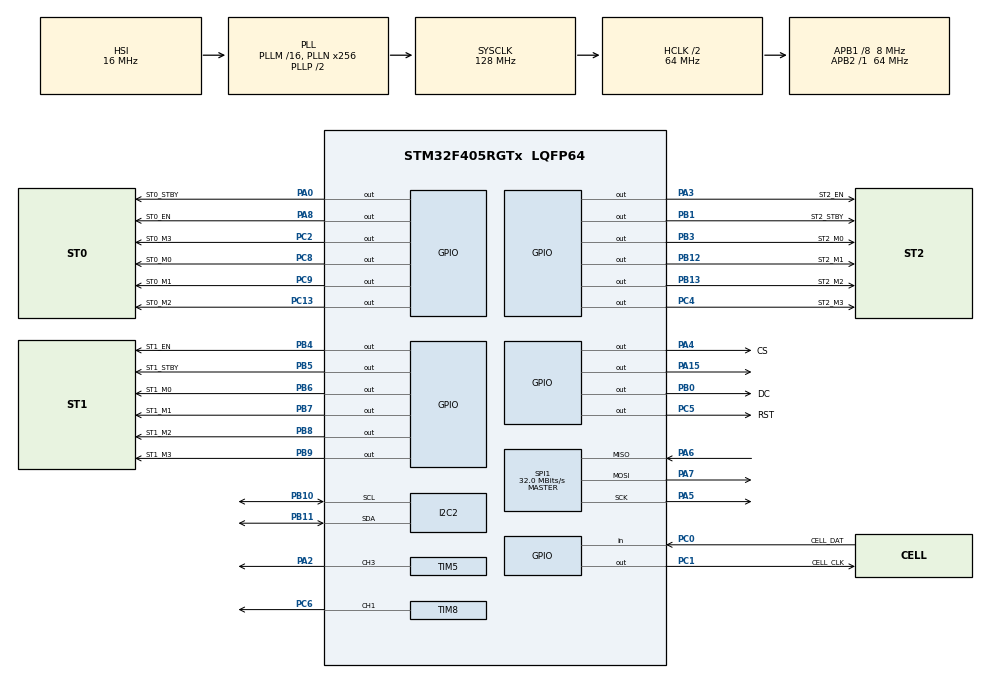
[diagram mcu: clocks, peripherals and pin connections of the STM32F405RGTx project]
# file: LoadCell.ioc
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Mcu.Family=STM32F4
Mcu.Name=STM32F405RGTx
Mcu.Package=LQFP64
NVIC.PriorityGroup=NVIC_PRIORITYGROUP_4
NVIC.TIM2_IRQn=true\:0\:0\:false\:false\:true\:true\:true
NVIC.TIM3_IRQn=true\:0\:0\:false\:false\:true\:true\:true
PA0-WKUP.GPIO_Label=ST0_STBY
PA0-WKUP.Signal=GPIO_Output
PA15.Signal=GPIO_Output
PA2.Signal=S_TIM5_CH3
PA3.GPIO_Label=ST2_EN
PA3.Signal=GPIO_Output
PA4.GPIO_Label=CS
PA4.PinState=GPIO_PIN_SET
PA4.Signal=GPIO_Output
PA5.Mode=Full_Duplex_Master
PA5.Signal=SPI1_SCK
PA6.Mode=Full_Duplex_Master
PA6.Signal=SPI1_MISO
PA7.Mode=Full_Duplex_Master
PA7.Signal=SPI1_MOSI
PA8.GPIO_Label=ST0_EN
PA8.Signal=GPIO_Output
PB0.GPIO_Label=DC
PB0.PinState=GPIO_PIN_SET
PB0.Signal=GPIO_Output
PB1.GPIO_Label=ST2_STBY
PB1.Signal=GPIO_Output
PB10.Mode=I2C
PB10.Signal=I2C2_SCL
PB11.Mode=I2C
PB11.Signal=I2C2_SDA
PB12.GPIO_Label=ST2_M1
PB12.Signal=GPIO_Output
PB13.GPIO_Label=ST2_M2
PB13.Signal=GPIO_Output
PB3.GPIO_Label=ST2_M0
PB3.Signal=GPIO_Output
PB4.GPIO_Label=ST1_EN
PB4.Signal=GPIO_Output
PB5.GPIO_Label=ST1_STBY
PB5.Signal=GPIO_Output
PB6.GPIO_Label=ST1_M0
PB6.Signal=GPIO_Output
PB7.GPIO_Label=ST1_M1
PB7.Signal=GPIO_Output
PB8.GPIO_Label=ST1_M2
PB8.Signal=GPIO_Output
PB9.GPIO_Label=ST1_M3
PB9.Signal=GPIO_Output
PC0.GPIO_Label=CELL_DAT
PC0.Signal=GPIO_Input
PC1.GPIO_Label=CELL_CLK
PC1.GPIO_PuPd=GPIO_PULLDOWN
PC1.GPIO_Speed=GPIO_SPEED_FREQ_HIGH
PC1.Signal=GPIO_Output
PC13-ANTI_TAMP.GPIO_Label=ST0_M2
PC13-ANTI_TAMP.Signal=GPIO_Output
PC2.GPIO_Label=ST0_M3
PC2.Signal=GPIO_Output
PC4.GPIO_Label=ST2_M3
PC4.Signal=GPIO_Output
PC5.GPIO_Label=RST
PC5.PinState=GPIO_PIN_SET
PC5.Signal=GPIO_Output
PC6.Signal=S_TIM8_CH1
PC8.GPIO_Label=ST0_M0
PC8.Signal=GPIO_Output
PC9.GPIO_Label=ST0_M1
PC9.Signal=GPIO_Output
ProjectManager.HeapSize=0x200
ProjectManager.StackSize=0x400
ProjectManager.TargetToolchain=STM32CubeIDE
RCC.48MHZClocksFreq_Value=64000000
RCC.AHBCLKDivider=RCC_SYSCLK_DIV2
RCC.AHBFreq_Value=64000000
RCC.APB1CLKDivider=RCC_HCLK_DIV8
RCC.APB1Freq_Value=8000000
RCC.APB1TimFreq_Value=16000000
RCC.APB2Freq_Value=64000000
RCC.APB2TimFreq_Value=64000000
RCC.CortexFreq_Value=64000000
RCC.HCLKFreq_Value=64000000
RCC.HSE_VALUE=25000000
RCC.HSI_VALUE=16000000
RCC.LSE_VALUE=32768
RCC.PLLN=256
RCC.SYSCLKFreq_VALUE=128000000
RCC.SYSCLKSource=RCC_SYSCLKSOURCE_PLLCLK
RCC.VCOOutputFreq_Value=256000000
SH.S_TIM5_CH3.0=TIM5_CH3,PWM Generation3 CH3
SH.S_TIM8_CH1.0=TIM8_CH1,PWM Generation1 CH1
SPI1.CalculateBaudRate=32.0 MBits/s
SPI1.Direction=SPI_DIRECTION_2LINES
SPI1.Mode=SPI_MODE_MASTER
SPI1.VirtualType=VM_MASTER
TIM2.AutoReloadPreload=TIM_AUTORELOAD_PRELOAD_DISABLE
TIM2.Period=8192
TIM3.Period=8192
TIM5.AutoReloadPreload=TIM_AUTORELOAD_PRELOAD_ENABLE
TIM5.Channel-PWM\ Generation3\ CH3=TIM_CHANNEL_3
TIM5.Period=4999
TIM5.Prescaler=212
TIM5.Pulse-PWM\ Generation3\ CH3=2000
TIM8.AutoReloadPreload=TIM_AUTORELOAD_PRELOAD_ENABLE
TIM8.Channel-PWM\ Generation1\ CH1=TIM_CHANNEL_1
TIM8.Period=4999
TIM8.Prescaler=255
TIM8.Pulse-PWM\ Generation1\ CH1=375
VP_TIM1_VS_ClockSourceINT.Mode=Internal
VP_TIM2_VS_ClockSourceINT.Mode=Internal
VP_TIM3_VS_ClockSourceINT.Mode=Internal
VP_TIM8_VS_ClockSourceINT.Mode=Internal
board=custom

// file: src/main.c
/* USER CODE BEGIN Header */
//       [STM32F405 Pin, ThingPlus Pin]
// PC0   [8, 8 D0]
//    Input to read the load cell
// PC1   [9, 7 D1]
//    Output to write clk to drive load cell "serial"
//
//
// GPIO
//    - https://simonmartin.ch/resources/stm32/dl/STM32%20Tutorial%2001%20-%20GPIO%20Operations%20using%20HAL%20(and%20FreeRTOS).pdf
//
// Timer idea for delay
//    - https://controllerstech.com/create-1-microsecond-delay-stm32/
//    - https://www.digikey.com/en/maker/projects/getting-started-with-stm32-timers-and-timer-interrupts/d08e6493cefa486fb1e79c43c0b08cc6
//
/*
 * Explanation
 *  Uses an hx711, basically a 24bit ADC. Interface is it's own kind of serial setup.
 *  -Wait until DAT is low (indicates it's ready). Sample is read MSB to LSB.
 *      Wait at least 0.1 microsecond until starting
 *  -We set CLK high, on it's rising edge (0.1microsecond max delay) DAT will have the next bit ready.
 *      CLK high time 0.2 - 50 microsecond
 *      CLK low time min 0.2 microsecond (1 typical)
 *  -Gain is set by how many pulses we send (DAT is pulled high by 25th pulse
 *      Pulse   Gain
 *      25      128
 *      26      32
 *      27      64
 *
 *
 * Pinout
 *  ThingPlus  ->  Load Cell Amplifier
 *  D0         ->   DAT
 *  D1         ->   CLK
 *
 *  ThingPlus  ->  Display MSP430G2553 (I2C)
 *  SCL        ->   P1.6 SCL
 *  SDA        ->   P1.7 SDA
 *
 *  Load Cell Amplifier
 *  VDD   ->   ThingPlus +3.3V
 *  VCC   ->   VREF +4.096V
 *
 *  Precision Voltage Ref (LM4040)
 *  VCC   ->   ThingPlus +3.3V
 *
 *
 * To add second stepper (and more), moved to ATP carrier board, didn't have to re-map anything,
 * though some of the board labels have changed. Labels below are all correct for ATP board.
 *
 *
 *  stepper driver 1
 *    en   pa8   g1
 *    stby pa0   g2
 *    0    pc8   g3
 *    1    pc9   g4
 *    2    pc13  g5
 *    3    pc2   g6
 *
 *  stepper driver 2
 *    en
 *    stby
 *    0
 *    1
 *    2
 *    3
 *
 *  LCD
 *    dc          pb0   a1
 *    rst         pc5   a0
 *    cs          pa4   i2s_ws
 *    pwm(timer)  pa2   tx1      (timer 5, channel 3)
 *  spi1
 *    mosi        pa7
 *    miso        pa6
 *    sck         pa5
 */
/* USER CODE END Header */
#include "main.h"

/* USER CODE BEGIN Includes */
#include <string.h>

#include "buttons.h"
#include "display.h"
#include "loadCell.h"
#include "motor.h"
#include "system.h"
/* USER CODE END Includes */

/* USER CODE BEGIN PD */
extern StepperMotor motorList[2];

MachineState currentState;

/* USER CODE END PD */

I2C_HandleTypeDef hi2c2;

SPI_HandleTypeDef hspi1;

TIM_HandleTypeDef htim1;
TIM_HandleTypeDef htim2;
TIM_HandleTypeDef htim3;
TIM_HandleTypeDef htim5;
TIM_HandleTypeDef htim8;

void SystemClock_Config(void);
static void MX_GPIO_Init(void);
static void MX_TIM1_Init(void);
static void MX_I2C2_Init(void);
static void MX_TIM8_Init(void);
static void MX_TIM2_Init(void);
static void MX_TIM3_Init(void);
static void MX_TIM5_Init(void);
static void MX_SPI1_Init(void);

/* USER CODE BEGIN 0 */
void timerDelay(uint16_t u16ths)
{
   __HAL_TIM_SET_COUNTER(&htim1,0);  // set the counter value a 0
   while (__HAL_TIM_GET_COUNTER(&htim1) < u16ths);  // wait for the counter to reach the input parameter
}

void statusBlink(enum LED_STATUS code)
{
   int iTimes;
   switch (code) {
      case LED_INIT_SUCCESS: {
         for (int i = 0; i < 2; i++) {
            HAL_GPIO_TogglePin(GPIOA, GPIO_PIN_15);
            HAL_Delay(250);
         }
         HAL_Delay(1000);
         iTimes = 2;
      } break;
      case LED_SAMPLE_SUCCESS:   iTimes = 4; break;
      case LED_SAMPLE_FAIL:      iTimes = 6; break;
      case LED_I2C_FAIL:         iTimes = 8; break;

      default: return;
   }
   for (int i = 0; i < iTimes; i++) {
      HAL_GPIO_TogglePin(GPIOA, GPIO_PIN_15);
      HAL_Delay(250);
   }
   HAL_Delay(1000);
   for (int i = 0; i < iTimes; i++) {
      HAL_GPIO_TogglePin(GPIOA, GPIO_PIN_15);
      HAL_Delay(250);
   }
}
/* USER CODE END 0 */

int main(void)
{

  /* MCU Configuration--------------------------------------------------------*/

  /* Reset of all peripherals, Initializes the Flash interface and the Systick. */
  HAL_Init();

  /* Configure the system clock */
  SystemClock_Config();

  /* Initialize all configured peripherals */
  MX_GPIO_Init();
  MX_TIM1_Init();
  MX_I2C2_Init();
  MX_TIM8_Init();
  MX_TIM2_Init();
  MX_TIM3_Init();
  MX_TIM5_Init();
  MX_SPI1_Init();
  /* USER CODE BEGIN 2 */
   if(HAL_I2C_Init(&hi2c2) != HAL_OK) {
      statusBlink(LED_I2C_FAIL);
   }
   buttonsInit(&hi2c2);
   servoInit(&htim8, TIM_CHANNEL_1, PWM0);

   displayInit_LCD(&hspi1, &htim5);
  /* USER CODE END 2 */

  /* Infinite loop */
  /* USER CODE BEGIN WHILE */
   HAL_TIM_Base_Start(&htim1);
   //__HAL_TIM_SET_COUNTER, HAL_TIM_Base_Start, HAL_TIM_Base_Start_IT, __HAL_TIM_SET_COMPARE
   // __HAL_TIM_GET_AUTORELOAD/__HAL_TIM_SET_AUTORELOAD
   // Compare is pulse width, counter is the actual counter
   /*
    * PWM Prescaler and Counter Period (PSC and ARR)
    * Frequency PWM = Freq Clock / ((ARR + 1)*(PSC + 1))
    *
    * desired frequency * ARR = timer frequency
    * PSC = (clock / timer frequency) - 1
    *
    * 50Hz = 64MHz / ((4999 + 1)*(255 + 1))
    *
    * Ideally want to maximize ARR (thats your max pulse width)
    * Close enough to 12bit with these values
    */
   //HAL_TIM_PWM_Start(&htim8, TIM_CHANNEL_1);

   statusBlink(LED_INIT_SUCCESS);
   HAL_Delay(3000);

   uint8_t u = 0;
   uint8_t uButton = 255;
   char cButton = 'x';
   currentState.bPWM0_Running = FALSE;
   currentState.iPWM0_Speed = 375; // 1.5ms (max value 4999), 500 == 2ms, 250 == 1ms
   currentState.displayMode = MAIN_MENU;
   currentState.scaleMode = SCALE_MODE_GRAM;
   currentState.iMeasureDumpDwell = 500;
   currentState.iMenuSelection = 0;
   currentState.fTargetWeight = 0;
   currentState.fTrayWeight = 2;
   currentState.iTricklePercent = 90;
   currentState.fGramPerCC = 10;
   currentState.iTrickle1RPMfast = 2;
   currentState.iTrcikle2RPMslow = 1;
   currentState.bMenuHighlight = FALSE;
   displaySwitchMode(&currentState, 0);

   stepTableInit();
   stepperInit(&htim3, &htim2);
   stepperConfig(&motorList[1], Step_32);
   stepperConfig(&motorList[0], Step_32);

   filterInit();

   CommandQueue.iHi = -1;
   CommandQueue.iStep[0] = -1;
   CommandQueue.iStep[1] = -1;

   while (1) {
      if (readCell()) {
         calculateAverage();
         currentState.fGrainsCurrent = getGrains();
         currentState.fGramsCurrent = getGrams();
         if (++u % 5 == 0) {
            displayUpdate_(&currentState);
         }
      }
      HAL_Delay(10);

      // Read Buttons
      uButton = getButton();
      if (uButton < 16) {
         cButton = convertButtonChar(uButton);
         // Green:      Run/Go/Enter
         // Red:        Stop/kill/done
         // F1:         Tare
         // F2:         Calibrate
         // F3:         Run Load
         if (cButton == 'r') {
            // Stop everything, quit whatever program...red is kill button
            if (currentState.bPWM0_Running) {
               servoStop(PWM0);
               currentState.bPWM0_Running = FALSE;
            }
            CommandQueue.iHi = -1;
            stepperEnable(&motorList[0], FALSE);
            stepperEnable(&motorList[1], FALSE);
            currentState.stepTrickle = STEPPER_OFF;
            // Go back to main menu
            if (currentState.scaleMode == SCALE_MODE_GRAIN) currentState.displayMode = SCALE_GRAIN;
            else currentState.displayMode = SCALE_GRAM;
            if (currentState.displayMode != MAIN_MENU) {
               Display_Mode prev = currentState.displayMode;
               currentState.displayMode = MAIN_MENU;
               displaySwitchMode(&currentState, prev);
            }
         } else if (cButton == 'a') {
            setTare();
         } else if (cButton == 'b') {
         } else if (cButton == 'c') {
         } else if (cButton == 'd') {
            int i = ++CommandQueue.iStep[0];
            CommandQueue.Q_Step[0][i].uCommand = STEP_CHAMBER_DUMP;
            CommandQueue.Q_Step[0][i].uButton[0] = currentState.iMeasureDumpDwell;
            i = ++CommandQueue.iStep[1];
            CommandQueue.Q_Step[1][i].uCommand = STEP_CHAMBER_DUMP;
            CommandQueue.Q_Step[1][i].uButton[0] = currentState.iMeasureDumpDwell;
         } else {
            runQueue(&currentState, uButton);
            uButton = convertButton(uButton);
            displayHandleMenu(&currentState, uButton, cButton);
         }
      } else {
         // Run current program
         runQueue(&currentState, 255);
      }
      runStepperQueue(&currentState, &motorList[0], CommandQueue.Q_Step[0], &CommandQueue.iStep[0]);
      runStepperQueue(&currentState, &motorList[1], CommandQueue.Q_Step[1], &CommandQueue.iStep[1]);

    /* USER CODE END WHILE */

   }
}

void SystemClock_Config(void)
{
  RCC_OscInitTypeDef RCC_OscInitStruct = {0};
  RCC_ClkInitTypeDef RCC_ClkInitStruct = {0};

  /** Configure the main internal regulator output voltage
  */
  __HAL_RCC_PWR_CLK_ENABLE();
  __HAL_PWR_VOLTAGESCALING_CONFIG(PWR_REGULATOR_VOLTAGE_SCALE1);
  /** Initializes the RCC Oscillators according to the specified parameters
  * in the RCC_OscInitTypeDef structure.
  */
  RCC_OscInitStruct.OscillatorType = RCC_OSCILLATORTYPE_HSI;
  RCC_OscInitStruct.HSIState = RCC_HSI_ON;
  RCC_OscInitStruct.HSICalibrationValue = RCC_HSICALIBRATION_DEFAULT;
  RCC_OscInitStruct.PLL.PLLState = RCC_PLL_ON;
  RCC_OscInitStruct.PLL.PLLSource = RCC_PLLSOURCE_HSI;
  RCC_OscInitStruct.PLL.PLLM = 16;
  RCC_OscInitStruct.PLL.PLLN = 256;
  RCC_OscInitStruct.PLL.PLLP = RCC_PLLP_DIV2;
  RCC_OscInitStruct.PLL.PLLQ = 4;
  if (HAL_RCC_OscConfig(&RCC_OscInitStruct) != HAL_OK)
  {
    Error_Handler();
  }
  /** Initializes the CPU, AHB and APB buses clocks
  */
  RCC_ClkInitStruct.ClockType = RCC_CLOCKTYPE_HCLK|RCC_CLOCKTYPE_SYSCLK
                              |RCC_CLOCKTYPE_PCLK1|RCC_CLOCKTYPE_PCLK2;
  RCC_ClkInitStruct.SYSCLKSource = RCC_SYSCLKSOURCE_PLLCLK;
  RCC_ClkInitStruct.AHBCLKDivider = RCC_SYSCLK_DIV2;
  RCC_ClkInitStruct.APB1CLKDivider = RCC_HCLK_DIV8;
  RCC_ClkInitStruct.APB2CLKDivider = RCC_HCLK_DIV1;

  if (HAL_RCC_ClockConfig(&RCC_ClkInitStruct, FLASH_LATENCY_2) != HAL_OK)
  {
    Error_Handler();
  }
}

static void MX_I2C2_Init(void)
{

  hi2c2.Instance = I2C2;
  hi2c2.Init.ClockSpeed = 100000;
  hi2c2.Init.DutyCycle = I2C_DUTYCYCLE_2;
  hi2c2.Init.OwnAddress1 = 0;
  hi2c2.Init.AddressingMode = I2C_ADDRESSINGMODE_7BIT;
  hi2c2.Init.DualAddressMode = I2C_DUALADDRESS_DISABLE;
  hi2c2.Init.OwnAddress2 = 0;
  hi2c2.Init.GeneralCallMode = I2C_GENERALCALL_DISABLE;
  hi2c2.Init.NoStretchMode = I2C_NOSTRETCH_DISABLE;
  if (HAL_I2C_Init(&hi2c2) != HAL_OK)
  {
    Error_Handler();
  }

}

static void MX_SPI1_Init(void)
{

  /* SPI1 parameter configuration*/
  hspi1.Instance = SPI1;
  hspi1.Init.Mode = SPI_MODE_MASTER;
  hspi1.Init.Direction = SPI_DIRECTION_2LINES;
  hspi1.Init.DataSize = SPI_DATASIZE_8BIT;
  hspi1.Init.CLKPolarity = SPI_POLARITY_LOW;
  hspi1.Init.CLKPhase = SPI_PHASE_1EDGE;
  hspi1.Init.NSS = SPI_NSS_SOFT;
  hspi1.Init.BaudRatePrescaler = SPI_BAUDRATEPRESCALER_2;
  hspi1.Init.FirstBit = SPI_FIRSTBIT_MSB;
  hspi1.Init.TIMode = SPI_TIMODE_DISABLE;
  hspi1.Init.CRCCalculation = SPI_CRCCALCULATION_DISABLE;
  hspi1.Init.CRCPolynomial = 10;
  if (HAL_SPI_Init(&hspi1) != HAL_OK)
  {
    Error_Handler();
  }

}

static void MX_TIM1_Init(void)
{

  TIM_ClockConfigTypeDef sClockSourceConfig = {0};
  TIM_MasterConfigTypeDef sMasterConfig = {0};

  htim1.Instance = TIM1;
  htim1.Init.Prescaler = 0;
  htim1.Init.CounterMode = TIM_COUNTERMODE_UP;
  htim1.Init.Period = 65535;
  htim1.Init.ClockDivision = TIM_CLOCKDIVISION_DIV1;
  htim1.Init.RepetitionCounter = 0;
  htim1.Init.AutoReloadPreload = TIM_AUTORELOAD_PRELOAD_DISABLE;
  if (HAL_TIM_Base_Init(&htim1) != HAL_OK)
  {
    Error_Handler();
  }
  sClockSourceConfig.ClockSource = TIM_CLOCKSOURCE_INTERNAL;
  if (HAL_TIM_ConfigClockSource(&htim1, &sClockSourceConfig) != HAL_OK)
  {
    Error_Handler();
  }
  sMasterConfig.MasterOutputTrigger = TIM_TRGO_RESET;
  sMasterConfig.MasterSlaveMode = TIM_MASTERSLAVEMODE_DISABLE;
  if (HAL_TIMEx_MasterConfigSynchronization(&htim1, &sMasterConfig) != HAL_OK)
  {
    Error_Handler();
  }

}

static void MX_TIM2_Init(void)
{

  TIM_ClockConfigTypeDef sClockSourceConfig = {0};
  TIM_MasterConfigTypeDef sMasterConfig = {0};

  htim2.Instance = TIM2;
  htim2.Init.Prescaler = 0;
  htim2.Init.CounterMode = TIM_COUNTERMODE_UP;
  htim2.Init.Period = 8192;
  htim2.Init.ClockDivision = TIM_CLOCKDIVISION_DIV1;
  htim2.Init.AutoReloadPreload = TIM_AUTORELOAD_PRELOAD_DISABLE;
  if (HAL_TIM_Base_Init(&htim2) != HAL_OK)
  {
    Error_Handler();
  }
  sClockSourceConfig.ClockSource = TIM_CLOCKSOURCE_INTERNAL;
  if (HAL_TIM_ConfigClockSource(&htim2, &sClockSourceConfig) != HAL_OK)
  {
    Error_Handler();
  }
  sMasterConfig.MasterOutputTrigger = TIM_TRGO_RESET;
  sMasterConfig.MasterSlaveMode = TIM_MASTERSLAVEMODE_DISABLE;
  if (HAL_TIMEx_MasterConfigSynchronization(&htim2, &sMasterConfig) != HAL_OK)
  {
    Error_Handler();
  }

}

static void MX_TIM3_Init(void)
{

  TIM_ClockConfigTypeDef sClockSourceConfig = {0};
  TIM_MasterConfigTypeDef sMasterConfig = {0};

  htim3.Instance = TIM3;
  htim3.Init.Prescaler = 0;
  htim3.Init.CounterMode = TIM_COUNTERMODE_UP;
  htim3.Init.Period = 8192;
  htim3.Init.ClockDivision = TIM_CLOCKDIVISION_DIV1;
  htim3.Init.AutoReloadPreload = TIM_AUTORELOAD_PRELOAD_DISABLE;
  if (HAL_TIM_Base_Init(&htim3) != HAL_OK)
  {
    Error_Handler();
  }
  sClockSourceConfig.ClockSource = TIM_CLOCKSOURCE_INTERNAL;
  if (HAL_TIM_ConfigClockSource(&htim3, &sClockSourceConfig) != HAL_OK)
  {
    Error_Handler();
  }
  sMasterConfig.MasterOutputTrigger = TIM_TRGO_RESET;
  sMasterConfig.MasterSlaveMode = TIM_MASTERSLAVEMODE_DISABLE;
  if (HAL_TIMEx_MasterConfigSynchronization(&htim3, &sMasterConfig) != HAL_OK)
  {
    Error_Handler();
  }

}

static void MX_TIM5_Init(void)
{

  TIM_MasterConfigTypeDef sMasterConfig = {0};
  TIM_OC_InitTypeDef sConfigOC = {0};

  htim5.Instance = TIM5;
  htim5.Init.Prescaler = 212;
  htim5.Init.CounterMode = TIM_COUNTERMODE_UP;
  htim5.Init.Period = 4999;
  htim5.Init.ClockDivision = TIM_CLOCKDIVISION_DIV1;
  htim5.Init.AutoReloadPreload = TIM_AUTORELOAD_PRELOAD_ENABLE;
  if (HAL_TIM_PWM_Init(&htim5) != HAL_OK)
  {
    Error_Handler();
  }
  sMasterConfig.MasterOutputTrigger = TIM_TRGO_RESET;
  sMasterConfig.MasterSlaveMode = TIM_MASTERSLAVEMODE_DISABLE;
  if (HAL_TIMEx_MasterConfigSynchronization(&htim5, &sMasterConfig) != HAL_OK)
  {
    Error_Handler();
  }
  sConfigOC.OCMode = TIM_OCMODE_PWM1;
  sConfigOC.Pulse = 2000;
  sConfigOC.OCPolarity = TIM_OCPOLARITY_HIGH;
  sConfigOC.OCFastMode = TIM_OCFAST_DISABLE;
  if (HAL_TIM_PWM_ConfigChannel(&htim5, &sConfigOC, TIM_CHANNEL_3) != HAL_OK)
  {
    Error_Handler();
  }
  HAL_TIM_MspPostInit(&htim5);

}

static void MX_TIM8_Init(void)
{

  TIM_ClockConfigTypeDef sClockSourceConfig = {0};
  TIM_MasterConfigTypeDef sMasterConfig = {0};
  TIM_OC_InitTypeDef sConfigOC = {0};
  TIM_BreakDeadTimeConfigTypeDef sBreakDeadTimeConfig = {0};

  htim8.Instance = TIM8;
  htim8.Init.Prescaler = 255;
  htim8.Init.CounterMode = TIM_COUNTERMODE_UP;
  htim8.Init.Period = 4999;
  htim8.Init.ClockDivision = TIM_CLOCKDIVISION_DIV1;
  htim8.Init.RepetitionCounter = 0;
  htim8.Init.AutoReloadPreload = TIM_AUTORELOAD_PRELOAD_ENABLE;
  if (HAL_TIM_Base_Init(&htim8) != HAL_OK)
  {
    Error_Handler();
  }
  sClockSourceConfig.ClockSource = TIM_CLOCKSOURCE_INTERNAL;
  if (HAL_TIM_ConfigClockSource(&htim8, &sClockSourceConfig) != HAL_OK)
  {
    Error_Handler();
  }
  if (HAL_TIM_PWM_Init(&htim8) != HAL_OK)
  {
    Error_Handler();
  }
  sMasterConfig.MasterOutputTrigger = TIM_TRGO_RESET;
  sMasterConfig.MasterSlaveMode = TIM_MASTERSLAVEMODE_DISABLE;
  if (HAL_TIMEx_MasterConfigSynchronization(&htim8, &sMasterConfig) != HAL_OK)
  {
    Error_Handler();
  }
  sConfigOC.OCMode = TIM_OCMODE_PWM1;
  sConfigOC.Pulse = 375;
  sConfigOC.OCPolarity = TIM_OCPOLARITY_HIGH;
  sConfigOC.OCNPolarity = TIM_OCNPOLARITY_HIGH;
  sConfigOC.OCFastMode = TIM_OCFAST_DISABLE;
  sConfigOC.OCIdleState = TIM_OCIDLESTATE_RESET;
  sConfigOC.OCNIdleState = TIM_OCNIDLESTATE_RESET;
  if (HAL_TIM_PWM_ConfigChannel(&htim8, &sConfigOC, TIM_CHANNEL_1) != HAL_OK)
  {
    Error_Handler();
  }
  sBreakDeadTimeConfig.OffStateRunMode = TIM_OSSR_DISABLE;
  sBreakDeadTimeConfig.OffStateIDLEMode = TIM_OSSI_DISABLE;
  sBreakDeadTimeConfig.LockLevel = TIM_LOCKLEVEL_OFF;
  sBreakDeadTimeConfig.DeadTime = 0;
  sBreakDeadTimeConfig.BreakState = TIM_BREAK_DISABLE;
  sBreakDeadTimeConfig.BreakPolarity = TIM_BREAKPOLARITY_HIGH;
  sBreakDeadTimeConfig.AutomaticOutput = TIM_AUTOMATICOUTPUT_DISABLE;
  if (HAL_TIMEx_ConfigBreakDeadTime(&htim8, &sBreakDeadTimeConfig) != HAL_OK)
  {
    Error_Handler();
  }
  HAL_TIM_MspPostInit(&htim8);

}

static void MX_GPIO_Init(void)
{
  GPIO_InitTypeDef GPIO_InitStruct = {0};

  /* GPIO Ports Clock Enable */
  __HAL_RCC_GPIOC_CLK_ENABLE();
  __HAL_RCC_GPIOA_CLK_ENABLE();
  __HAL_RCC_GPIOB_CLK_ENABLE();

  /*Configure GPIO pin Output Level */
  HAL_GPIO_WritePin(GPIOC, ST0_M2_Pin|CELL_CLK_Pin|ST0_M3_Pin|ST2_M3_Pin
                          |ST0_M0_Pin|ST0_M1_Pin, GPIO_PIN_RESET);

  /*Configure GPIO pin Output Level */
  HAL_GPIO_WritePin(GPIOA, ST0_STBY_Pin|ST2_EN_Pin|ST0_EN_Pin|GPIO_PIN_15, GPIO_PIN_RESET);

  /*Configure GPIO pin Output Level */
  HAL_GPIO_WritePin(CS_GPIO_Port, CS_Pin, GPIO_PIN_SET);

  /*Configure GPIO pin Output Level */
  HAL_GPIO_WritePin(RST_GPIO_Port, RST_Pin, GPIO_PIN_SET);

  /*Configure GPIO pin Output Level */
  HAL_GPIO_WritePin(DC_GPIO_Port, DC_Pin, GPIO_PIN_SET);

  /*Configure GPIO pin Output Level */
  HAL_GPIO_WritePin(GPIOB, ST2_STBY_Pin|ST2_M1_Pin|ST2_M2_Pin|ST2_M0_Pin
                          |ST1_EN_Pin|ST1_STBY_Pin|ST1_M0_Pin|ST1_M1_Pin
                          |ST1_M2_Pin|ST1_M3_Pin, GPIO_PIN_RESET);

  /*Configure GPIO pins : ST0_M2_Pin ST0_M3_Pin ST2_M3_Pin RST_Pin
                           ST0_M0_Pin ST0_M1_Pin */
  GPIO_InitStruct.Pin = ST0_M2_Pin|ST0_M3_Pin|ST2_M3_Pin|RST_Pin
                          |ST0_M0_Pin|ST0_M1_Pin;
  GPIO_InitStruct.Mode = GPIO_MODE_OUTPUT_PP;
  GPIO_InitStruct.Pull = GPIO_NOPULL;
  GPIO_InitStruct.Speed = GPIO_SPEED_FREQ_LOW;
  HAL_GPIO_Init(GPIOC, &GPIO_InitStruct);

  /*Configure GPIO pin : CELL_DAT_Pin */
  GPIO_InitStruct.Pin = CELL_DAT_Pin;
  GPIO_InitStruct.Mode = GPIO_MODE_INPUT;
  GPIO_InitStruct.Pull = GPIO_NOPULL;
  HAL_GPIO_Init(CELL_DAT_GPIO_Port, &GPIO_InitStruct);

  /*Configure GPIO pin : CELL_CLK_Pin */
  GPIO_InitStruct.Pin = CELL_CLK_Pin;
  GPIO_InitStruct.Mode = GPIO_MODE_OUTPUT_PP;
  GPIO_InitStruct.Pull = GPIO_PULLDOWN;
  GPIO_InitStruct.Speed = GPIO_SPEED_FREQ_HIGH;
  HAL_GPIO_Init(CELL_CLK_GPIO_Port, &GPIO_InitStruct);

  /*Configure GPIO pins : ST0_STBY_Pin ST2_EN_Pin CS_Pin ST0_EN_Pin
                           PA15 */
  GPIO_InitStruct.Pin = ST0_STBY_Pin|ST2_EN_Pin|CS_Pin|ST0_EN_Pin
                          |GPIO_PIN_15;
  GPIO_InitStruct.Mode = GPIO_MODE_OUTPUT_PP;
  GPIO_InitStruct.Pull = GPIO_NOPULL;
  GPIO_InitStruct.Speed = GPIO_SPEED_FREQ_LOW;
  HAL_GPIO_Init(GPIOA, &GPIO_InitStruct);

  /*Configure GPIO pins : DC_Pin ST2_STBY_Pin ST2_M1_Pin ST2_M2_Pin
                           ST2_M0_Pin ST1_EN_Pin ST1_STBY_Pin ST1_M0_Pin
                           ST1_M1_Pin ST1_M2_Pin ST1_M3_Pin */
  GPIO_InitStruct.Pin = DC_Pin|ST2_STBY_Pin|ST2_M1_Pin|ST2_M2_Pin
                          |ST2_M0_Pin|ST1_EN_Pin|ST1_STBY_Pin|ST1_M0_Pin
                          |ST1_M1_Pin|ST1_M2_Pin|ST1_M3_Pin;
  GPIO_InitStruct.Mode = GPIO_MODE_OUTPUT_PP;
  GPIO_InitStruct.Pull = GPIO_NOPULL;
  GPIO_InitStruct.Speed = GPIO_SPEED_FREQ_LOW;
  HAL_GPIO_Init(GPIOB, &GPIO_InitStruct);

}

/* USER CODE BEGIN 4 */

void HAL_TIM_PeriodElapsedCallback(TIM_HandleTypeDef *htim)
{
   for (int i = 0; i < 2; i++) {
      if (htim == motorList[i].htim) {
         if (motorList[i].bStepOnTimer) {
            HAL_GPIO_WritePin(motorList[i].gpio_M2, motorList[i].m2, GPIO_PIN_RESET); //m2 == m_clk
            timerDelay(16);//that updates timer stuff without the config...

            if (motorList[i].timerIndexCurrent++ == motorList[i].timerIndexStop) {
               if (motorList[i].tableIndexCurrent == 0) {
                  motorList[i].bStepOnTimer = FALSE;
                  stepperEnable(&motorList[i], FALSE);
                  HAL_TIM_Base_Stop_IT(motorList[i].htim);
                  return;
               }

               motorList[i].timerIndexCurrent = 0;
               motorList[i].timerIndexStop = motorList[i].arStepper_Table[--motorList[i].tableIndexCurrent].iNumSteps;
               motorList[i].bStepOnTimer = motorList[i].arStepper_Table[motorList[i].tableIndexCurrent].bStep;
               if (motorList[i].arStepper_Table[motorList[i].tableIndexCurrent].bClockwise) {
                  stepperSetCW(&motorList[i]);
               } else {
                  stepperSetCCW(&motorList[i]);
               }

               __HAL_TIM_SET_AUTORELOAD(htim, motorList[i].arStepper_Table[motorList[i].tableIndexCurrent].uNewDelay);
               __HAL_TIM_SET_COUNTER(htim, 0xffffffff);
            }
            HAL_GPIO_WritePin(motorList[i].gpio_M2, motorList[i].m2, GPIO_PIN_SET);
         } else {
            if (motorList[i].timerIndexCurrent++ == motorList[i].timerIndexStop) {
               if (motorList[i].tableIndexCurrent == 0) {
                  motorList[i].bStepOnTimer = FALSE;
                  stepperEnable(&motorList[i], FALSE);
                  HAL_TIM_Base_Stop_IT(motorList[i].htim);
                  return;
               }

               motorList[i].timerIndexCurrent = 0;
               motorList[i].timerIndexStop = motorList[i].arStepper_Table[--motorList[i].tableIndexCurrent].iNumSteps;
               motorList[i].bStepOnTimer = motorList[i].arStepper_Table[motorList[i].tableIndexCurrent].bStep;
               if (motorList[i].arStepper_Table[motorList[i].tableIndexCurrent].bClockwise) {
                  stepperSetCW(&motorList[i]);
               } else {
                  stepperSetCCW(&motorList[i]);
               }

               __HAL_TIM_SET_AUTORELOAD(htim, motorList[i].arStepper_Table[motorList[i].tableIndexCurrent].uNewDelay);
               __HAL_TIM_SET_COUNTER(htim, 0xffffffff);
            }
         }
      }
   }
}
/* USER CODE END 4 */

void Error_Handler(void)
{
  __disable_irq();
  while (1)
  {
  }
}
